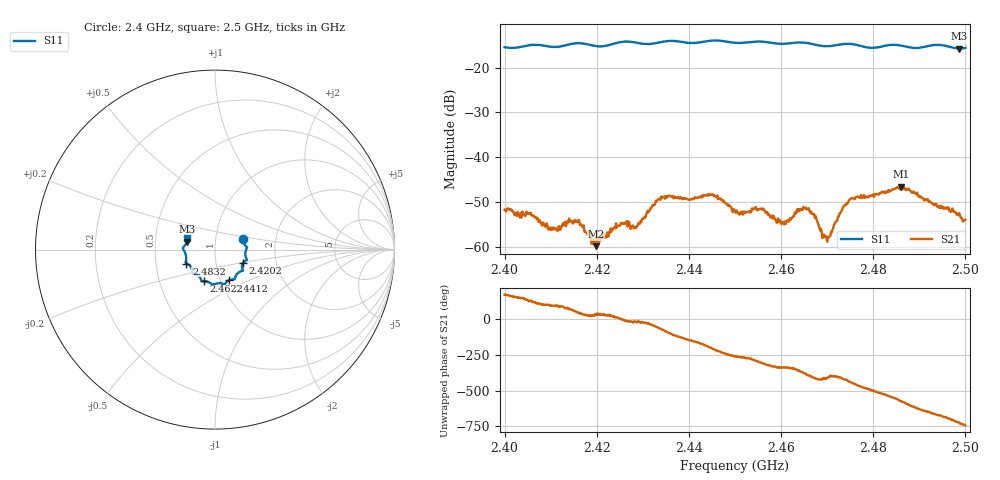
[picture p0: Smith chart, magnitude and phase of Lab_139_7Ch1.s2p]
# Hz S RI R 50
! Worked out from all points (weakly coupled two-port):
!   601 points, 2.4 GHz to 2.5 GHz, reference 50 ohm
!   highest |S21| = -46.58 dB at 2.486 GHz (marker M1); lowest = -59.8 dB at 2.4198 GHz (marker M2)
!   lowest |S11| = -15.8 dB at 2.4987 GHz (marker M3), VSWR 1.39, Z = 36.3 + j3.3 ohm
!   |S11| at or under -10 dB: start of sweep to end of sweep
!   S12 and S22 are empty: the file has one direction only
!   S11 on the Smith chart (normalised r, x): 2.4 GHz: 1.36, +0.17; 2.4202 GHz: 1.35, -0.20; 2.4412 GHz: 1.09, -0.39; 2.4622 GHz: 0.83, -0.30; 2.4832 GHz: 0.72, -0.12; 2.5 GHz: 0.73, +0.09
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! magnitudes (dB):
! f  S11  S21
! 2.4 GHz  -15.5  -51.7
! 2.4052 GHz  -15.1  -52.6
! 2.4098 GHz  -15.3  -56.1
! 2.4167 GHz  -14.6  -55.0
! 2.4198 GHz  -15.2  -59.8
! 2.4202 GHz  -15.3  -57.9
! 2.4258 GHz  -14.2  -54.7
! 2.4285 GHz  -14.4  -55.8
! 2.4333 GHz  -14.5  -49.4
! 2.4412 GHz  -14.5  -49.2
! 2.445 GHz  -14.0  -48.3
! 2.45 GHz  -14.5  -52.1
! 2.4622 GHz  -14.5  -53.9
! 2.4647 GHz  -14.4  -51.8
! 2.4667 GHz  -14.7  -52.7
! 2.4702 GHz  -15.2  -57.8
! 2.475 GHz  -14.7  -49.3
! 2.4832 GHz  -15.0  -47.8
! 2.4833 GHz  -15.0  -47.3
! 2.486 GHz  -15.1  -46.6
! 2.4987 GHz  -15.8  -52.5
! 2.5 GHz  -15.6  -53.9
